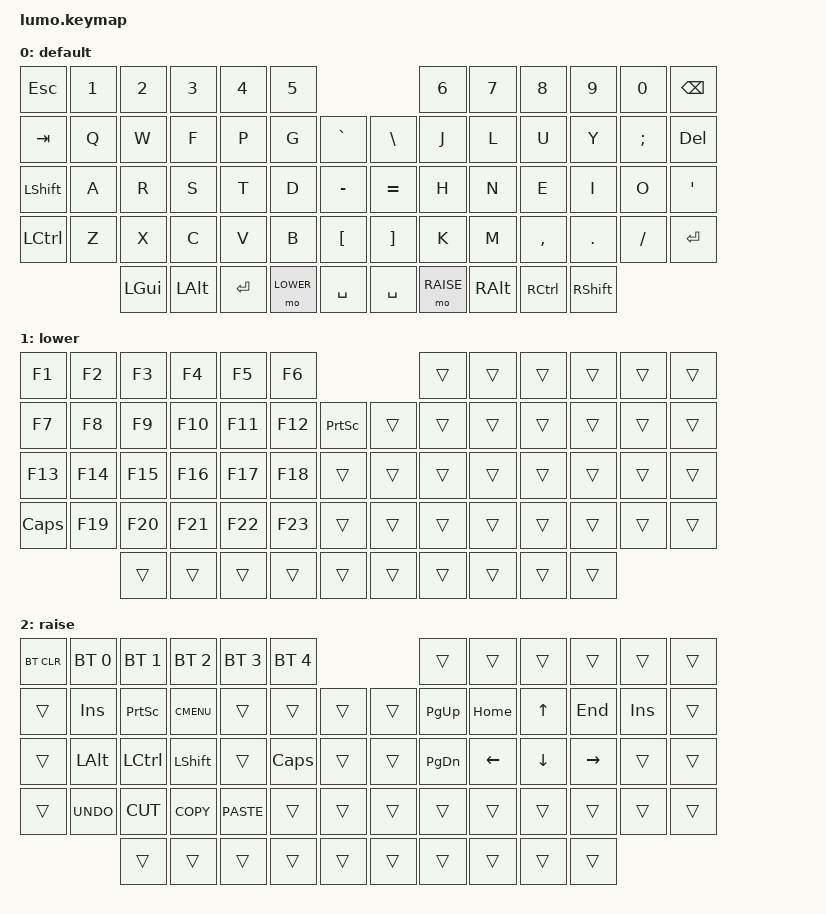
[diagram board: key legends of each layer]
#include <behaviors.dtsi>
#include <dt-bindings/zmk/keys.h>
#include <dt-bindings/zmk/bt.h>
#include <dt-bindings/zmk/ext_power.h>
#include <dt-bindings/zmk/outputs.h>


#define BASE 0
#define LOWER 1
#define RAISE 2

/ {

    keymap {
        compatible = "zmk,keymap";

        default_layer {
            display-name = "default";
/* Colemak
 * ,-----------------------------------------.             ,-----------------------------------------.
 * | ESC  |   1  |   2  |   3  |   4  |   5  |             |   6  |   7  |   8  |   9  |   0  | BKSP |
 * |------+------+------+------+------+------|------+------+------+------+------+------+------+------|
 * | Tab  |   Q  |   W  |   F  |   P  |   G  |  `   |  \   |   J  |   L  |   U  |   Y  |   ;  | DEL  |
 * |------+------+------+------+------+------|------+------+------+------+------+------+------+------|
 * | SHIFT|   A  |   R  |   S  |   T  |   D  |  -   |  =   |   H  |   N  |   E  |   I  |   O  | "    |
 * |------+------+------+------+------+------+------|------+------+------+------+------+------+------|
 * | CTRL |   Z  |   X  |   C  |   V  |   B  |   [  |   ]  |   K  |   M  |   ,  |   .  |   /  |ENTER |
 * `-------------+------+------+------+------+------+------+------+------+------+------+-------------'
 *               |  GUI |  Alt |ENTER |LOWER | SPACE| SPACE| Raise|  Alt | CTRL |SHIFT
 *               `---------------------------------------------------------------------'
 */
            bindings = <
&kp ESC   &kp N1 &kp N2   &kp N3   &kp N4    &kp N5                           &kp N6     &kp N7    &kp N8    &kp N9   &kp N0   &kp BSPC
&kp TAB   &kp Q  &kp W    &kp F    &kp P     &kp G      &kp GRAVE  &kp BSLH   &kp J      &kp L     &kp U     &kp Y    &kp SEMI &kp DEL 
&kp LSHFT &kp A  &kp R    &kp S    &kp T     &kp D      &kp MINUS  &kp EQUAL  &kp H      &kp N     &kp E     &kp I    &kp O    &kp SQT
&kp LCTRL &kp Z  &kp X    &kp C    &kp V     &kp B      &kp LBKT   &kp RBKT   &kp K      &kp M     &kp COMMA &kp DOT  &kp FSLH &kp RET
                 &kp LGUI &kp LALT &kp ENTER &mo LOWER  &kp SPACE  &kp SPACE  &mo RAISE  &kp RALT  &kp RCTRL &kp RSHFT
            >;

        };

        lower_layer {
            display-name = "lower";
// ------------------------------------------------------------------------------------------------------------
// |  F1  |  F2 |  F3  |  F4  |  F5  |  F6  |                  |      |       |       |      |       |       |
// |  F7  |  F8 |  F9  |  F10 |  F11 |  F12 | PSCR  |  |       |      |       |       |      |       |       |
// |  F13 |  F14|  F15 | F16  |  F17 |  F18 |       |  |       |      |       |       |      |       |       |
// |  CAPS|  F19|  F20 | F21  | F22  | F23  |       |  |       |      |       |       |      |       |       |
//              | BTCLR|      |      |      |       |  |       |      |       |       |      |
            bindings = <
&kp F1    &kp F2  &kp F3    &kp F4    &kp F5    &kp F6                        &trans  &trans  &trans  &trans  &trans  &trans  
&kp F7    &kp F8  &kp F9    &kp F10   &kp F11   &kp F12    &kp PSCRN  &trans  &trans  &trans  &trans  &trans  &trans  &trans  
&kp F13   &kp F14 &kp F15   &kp F16   &kp F17   &kp F18    &trans     &trans  &trans  &trans  &trans  &trans  &trans  &trans  
&kp CAPS  &kp F19 &kp F20   &kp F21   &kp F22   &kp F23    &trans     &trans  &trans  &trans  &trans  &trans  &trans  &trans  
                  &trans    &trans    &trans    &trans     &trans     &trans  &trans  &trans  &trans  &trans
            >;

        };

        raise_layer {
            display-name = "raise";
// ------------------------------------------------------------------------------------------------------------
// | BTCLR | BT1  | BT2  |  BT3  |  BT4  |  BT5 |                |      |      |       |      |       |       |
// |       | INS  | PSCR | GUI   |       |      |                | PGUP | HOME |   ^   | END  |  INS  |       |
// |       | ALT  | CTRL | SHIFT |       | CAPS |                | PGDN |   <- |   v   |  ->  |       |       |
// |       | UNDO | CUT  | COPY  | PASTE |      |      |  |      |      |      |       |      |       |       |
//                |      |       |       |      |      |  |      |      |      |       |      |
            bindings = <
&bt BT_CLR &bt BT_SEL 0 &bt BT_SEL 1 &bt BT_SEL 2 &bt BT_SEL 3 &bt BT_SEL 4                  &trans    &trans    &trans   &trans    &trans  &trans
&trans     &kp INS      &kp PSCRN    &kp K_CMENU  &trans       &trans        &trans  &trans  &kp PG_UP &kp HOME  &kp UP   &kp END   &kp INS  &trans
&trans     &kp LALT     &kp LCTRL    &kp LSHFT    &trans       &kp CLCK      &trans  &trans  &kp PG_DN &kp LEFT  &kp DOWN &kp RIGHT &trans  &trans
&trans     &kp K_UNDO   &kp K_CUT    &kp K_COPY   &kp K_PASTE  &trans        &trans  &trans  &trans    &trans    &trans   &trans    &trans  &trans
                        &trans       &trans       &trans       &trans        &trans  &trans  &trans    &trans    &trans   &trans
            >;
        };

    };
};
